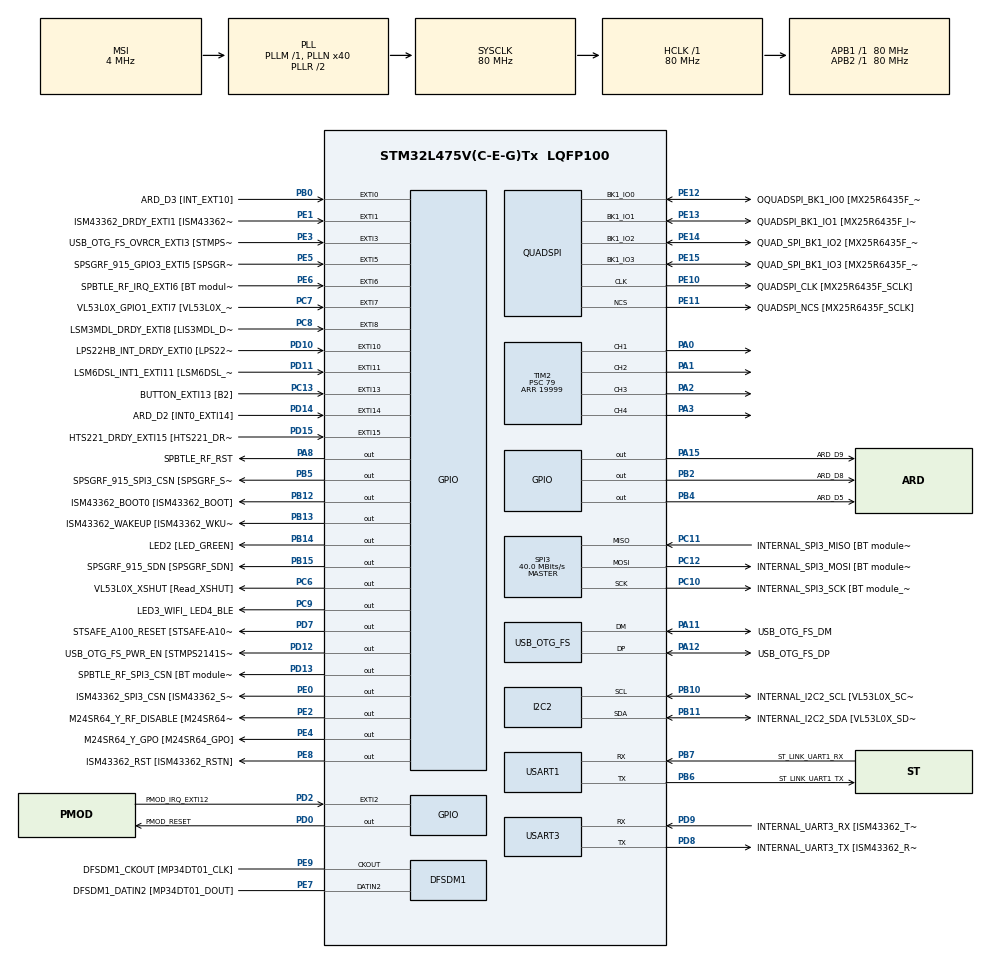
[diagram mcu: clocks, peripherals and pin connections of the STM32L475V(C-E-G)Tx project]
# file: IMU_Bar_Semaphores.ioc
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Dma.I2C2_RX.0.Direction=DMA_PERIPH_TO_MEMORY
Dma.I2C2_RX.0.Instance=DMA1_Channel5
Dma.I2C2_RX.0.MemDataAlignment=DMA_MDATAALIGN_BYTE
Dma.I2C2_RX.0.MemInc=DMA_MINC_ENABLE
Dma.I2C2_RX.0.Mode=DMA_NORMAL
Dma.I2C2_RX.0.PeriphDataAlignment=DMA_PDATAALIGN_BYTE
Dma.I2C2_RX.0.PeriphInc=DMA_PINC_DISABLE
Dma.I2C2_RX.0.Priority=DMA_PRIORITY_LOW
Dma.I2C2_TX.1.Direction=DMA_MEMORY_TO_PERIPH
Dma.I2C2_TX.1.Instance=DMA1_Channel4
Dma.I2C2_TX.1.MemDataAlignment=DMA_MDATAALIGN_BYTE
Dma.I2C2_TX.1.MemInc=DMA_MINC_ENABLE
Dma.I2C2_TX.1.Mode=DMA_NORMAL
Dma.I2C2_TX.1.PeriphDataAlignment=DMA_PDATAALIGN_BYTE
Dma.I2C2_TX.1.PeriphInc=DMA_PINC_DISABLE
Dma.I2C2_TX.1.Priority=DMA_PRIORITY_LOW
Dma.Request0=I2C2_RX
Dma.Request1=I2C2_TX
FREERTOS.Mutexes01=I2C2_Mutex,Dynamic,NULL
FREERTOS.Queues01=AltitudQueue,5,float,0,Dynamic,NULL,NULL;IMU_Queue,5,12,1,Dynamic,NULL,NULL
FREERTOS.Tasks01=BaroTask,16,256,StartBaroTask,Default,NULL,Dynamic,NULL,NULL;IMU_Task,40,256,StartIMU_Task,Default,NULL,Dynamic,NULL,NULL;Telemetry_Task,24,512,StartTelemetry_Task,Default,NULL,Dynamic,NULL,NULL
FREERTOS.configTOTAL_HEAP_SIZE=15360
I2C2.Timing=0x10909CEC
Mcu.Family=STM32L4
Mcu.Name=STM32L475V(C-E-G)Tx
Mcu.Package=LQFP100
NVIC.DMA1_Channel4_IRQn=true\:5\:0\:false\:false\:true\:true\:false\:true\:true
NVIC.DMA1_Channel5_IRQn=true\:5\:0\:false\:false\:true\:true\:false\:true\:true
NVIC.EXTI15_10_IRQn=true\:5\:0\:false\:false\:true\:true\:true\:true\:true
NVIC.EXTI9_5_IRQn=true\:5\:0\:false\:false\:true\:true\:true\:true\:true
NVIC.I2C2_ER_IRQn=true\:5\:0\:false\:false\:true\:true\:true\:true\:true
NVIC.I2C2_EV_IRQn=true\:5\:0\:false\:false\:true\:true\:true\:true\:true
NVIC.PriorityGroup=NVIC_PRIORITYGROUP_4
NVIC.TIM6_DAC_IRQn=true\:15\:0\:false\:false\:true\:false\:false\:true\:true
NVIC.TimeBase=TIM6_DAC_IRQn
NVIC.TimeBaseIP=TIM6
NVIC.USART1_IRQn=true\:5\:0\:false\:false\:true\:true\:true\:true\:true
PA0.Signal=S_TIM2_CH1
PA1.Signal=S_TIM2_CH2
PA10.GPIO_Label=USB_OTG_FS_ID
PA10.Signal=USB_OTG_FS_ID
PA11.GPIO_Label=USB_OTG_FS_DM
PA11.Mode=Device_Only
PA11.Signal=USB_OTG_FS_DM
PA12.GPIO_Label=USB_OTG_FS_DP
PA12.Mode=Device_Only
PA12.Signal=USB_OTG_FS_DP
PA13\ (JTMS-SWDIO).GPIO_Label=SYS_JTMS_SWDIO
PA13\ (JTMS-SWDIO).Mode=Serial_Wire
PA13\ (JTMS-SWDIO).Signal=SYS_JTMS-SWDIO
PA14\ (JTCK-SWCLK).GPIO_Label=SYS_JTCK_SWCLK
PA14\ (JTCK-SWCLK).Mode=Serial_Wire
PA14\ (JTCK-SWCLK).Signal=SYS_JTCK-SWCLK
PA15\ (JTDI).GPIO_Label=ARD_D9
PA15\ (JTDI).Signal=GPIO_Output
PA2.Signal=S_TIM2_CH3
PA3.Signal=S_TIM2_CH4
PA4.GPIO_Label=ARD_D7
PA4.Signal=ADCx_IN9
PA5.GPIO_Label=ARD_D13 [SPI1_SCK]
PA5.Signal=SPI1_SCK
PA6.GPIO_Label=ARD_D12 [SPI1_MISO]
PA6.Signal=SPI1_MISO
PA7.GPIO_Label=ARD_D11 [SPI1_MOSI]
PA7.Signal=SPI1_MOSI
PA8.GPIO_Label=SPBTLE_RF_RST
PA8.Signal=GPIO_Output
PA9.GPIO_Label=USB_OTG_FS_VBUS [STMPS2141STR_OUT]
PA9.Signal=USB_OTG_FS_VBUS
PB0.GPIO_Label=ARD_D3 [INT_EXT10]
PB0.Signal=GPXTI0
PB1.GPIO_Label=ARD_D6 [ADC1_IN6]
PB1.Signal=ADCx_IN16
PB10.GPIO_Label=INTERNAL_I2C2_SCL [VL53L0X_SCL]
PB10.GPIO_Pu=GPIO_PULLUP
PB10.Mode=I2C
PB10.Signal=I2C2_SCL
PB11.GPIO_Label=INTERNAL_I2C2_SDA [VL53L0X_SDA]
PB11.GPIO_Pu=GPIO_PULLUP
PB11.Mode=I2C
PB11.Signal=I2C2_SDA
PB12.GPIO_Label=ISM43362_BOOT0 [ISM43362_BOOT]
PB12.Signal=GPIO_Output
PB13.GPIO_Label=ISM43362_WAKEUP [ISM43362_WKUP]
PB13.Signal=GPIO_Output
PB14.GPIO_Label=LED2 [LED_GREEN]
PB14.Signal=GPIO_Output
PB15.GPIO_Label=SPSGRF_915_SDN [SPSGRF_SDN]
PB15.Signal=GPIO_Output
PB2.GPIO_Label=ARD_D8
PB2.Signal=GPIO_Output
PB3\ (JTDO-TRACESWO).GPIO_Label=SYS_JTD0_SWO
PB3\ (JTDO-TRACESWO).Signal=SYS_JTDO-SWO
PB4\ (NJTRST).GPIO_Label=ARD_D5
PB4\ (NJTRST).Signal=GPIO_Output
PB5.GPIO_Label=SPSGRF_915_SPI3_CSN [SPSGRF_SPI_CS]
PB5.PinState=GPIO_PIN_SET
PB5.Signal=GPIO_Output
PB6.GPIO_Label=ST_LINK_UART1_TX
PB6.Mode=Asynchronous
PB6.Signal=USART1_TX
PB7.GPIO_Label=ST_LINK_UART1_RX
PB7.Mode=Asynchronous
PB7.Signal=USART1_RX
PB8.GPIO_Label=ARD_D15 [I2C1_SCL]
PB8.Signal=I2C1_SCL
PB9.GPIO_Label=ARD_D14 [I2C1_SDA]
PB9.Signal=I2C1_SDA
PC0.GPIO_Label=ARD_A5 [ADC]
PC0.Signal=ADCx_IN1
PC1.GPIO_Label=ARD_A4 [ADC]
PC1.Signal=ADCx_IN2
PC10.GPIO_Label=INTERNAL_SPI3_SCK [BT module_SPI_SCLK] [ISM43362_SCK]
PC10.Mode=Full_Duplex_Master
PC10.Signal=SPI3_SCK
PC11.GPIO_Label=INTERNAL_SPI3_MISO [BT module_SPI_MISO] [ISM43362_MISO]
PC11.Mode=Full_Duplex_Master
PC11.Signal=SPI3_MISO
PC12.GPIO_Label=INTERNAL_SPI3_MOSI [BT module_SPI_MOSI] [ISM43362_MOSI]
PC12.Mode=Full_Duplex_Master
PC12.Signal=SPI3_MOSI
PC13.GPIO_Label=BUTTON_EXTI13 [B2]
PC13.GPIO_ModeDefaultEXTI=GPIO_MODE_IT_FALLING
PC13.Signal=GPXTI13
PC14-OSC32_IN\ (PC14).Mode=LSE-External-Oscillator
PC14-OSC32_IN\ (PC14).Signal=RCC_OSC32_IN
PC15-OSC32_OUT\ (PC15).Mode=LSE-External-Oscillator
PC15-OSC32_OUT\ (PC15).Signal=RCC_OSC32_OUT
PC2.GPIO_Label=ARD_A3 [ADC]
PC2.Signal=ADCx_IN3
PC3.GPIO_Label=ARD_A2 [ADC]
PC3.Signal=ADCx_IN4
PC4.GPIO_Label=ARD_A1 [ADC]
PC4.Signal=ADCx_IN13
PC5.GPIO_Label=ARD_A0 [ADC]
PC5.Signal=ADCx_IN14
PC6.GPIO_Label=VL53L0X_XSHUT [Read_XSHUT]
PC6.Signal=GPIO_Output
PC7.GPIO_Label=VL53L0X_GPIO1_EXTI7 [VL53L0X_GPIO1]
PC7.Signal=GPXTI7
PC8.GPIO_Label=LSM3MDL_DRDY_EXTI8 [LIS3MDL_DRDY]
PC8.Signal=GPXTI8
PC9.GPIO_Label=LED3_WIFI_ LED4_BLE
PC9.Signal=GPIO_Output
PD0.GPIO_Label=PMOD_RESET
PD0.Signal=GPIO_Output
PD1.GPIO_Label=PMOD_SPI2_SCK
PD1.Signal=SPI2_SCK
PD10.GPIO_Label=LPS22HB_INT_DRDY_EXTI0 [LPS22HB_INT_DRDY] 
PD10.Signal=GPXTI10
PD11.GPIO_Label=LSM6DSL_INT1_EXTI11 [LSM6DSL_INT1]
PD11.Signal=GPXTI11
PD12.GPIO_Label=USB_OTG_FS_PWR_EN [STMPS2141STR_EN]
PD12.Signal=GPIO_Output
PD13.GPIO_Label=SPBTLE_RF_SPI3_CSN [BT module_SPI_CS]
PD13.PinState=GPIO_PIN_SET
PD13.Signal=GPIO_Output
PD14.GPIO_Label=ARD_D2 [INT0_EXTI14]
PD14.Signal=GPXTI14
PD15.GPIO_Label=HTS221_DRDY_EXTI15 [HTS221_DRDY]
PD15.Signal=GPXTI15
PD2.GPIO_Label=PMOD_IRQ_EXTI12
PD2.Signal=GPXTI2
PD3.GPIO_Label=PMOD_UART2_CTS
PD3.Signal=USART2_CTS
PD4.GPIO_Label=PMOD_UART2_RTS
PD4.Signal=USART2_RTS
PD5.GPIO_Label=PMOD_UART2_TX
PD5.Signal=USART2_TX
PD6.GPIO_Label=PMOD_UART2_RX
PD6.Signal=USART2_RX
PD7.GPIO_Label=STSAFE_A100_RESET [STSAFE-A100_RESET]
PD7.Signal=GPIO_Output
PD8.GPIO_Label=INTERNAL_UART3_TX [ISM43362_RX]
PD8.Mode=Asynchronous
PD8.Signal=USART3_TX
PD9.GPIO_Label=INTERNAL_UART3_RX [ISM43362_TX]
PD9.Mode=Asynchronous
PD9.Signal=USART3_RX
PE0.GPIO_Label=ISM43362_SPI3_CSN [ISM43362_SSN]
PE0.PinState=GPIO_PIN_SET
PE0.Signal=GPIO_Output
PE1.GPIO_Label=ISM43362_DRDY_EXTI1 [ISM43362_DATARDY]
PE1.Signal=GPXTI1
PE10.GPIO_Label=QUADSPI_CLK [MX25R6435F_SCLK]
PE10.Mode=Single Bank
PE10.Signal=QUADSPI_CLK
PE11.GPIO_Label=QUADSPI_NCS [MX25R6435F_SCLK]
PE11.Mode=Single Bank
PE11.Signal=QUADSPI_NCS
PE12.GPIO_Label=OQUADSPI_BK1_IO0 [MX25R6435F_IO0]
PE12.Mode=Single Bank
PE12.Signal=QUADSPI_BK1_IO0
PE13.GPIO_Label=QUADSPI_BK1_IO1 [MX25R6435F_IO1]
PE13.Mode=Single Bank
PE13.Signal=QUADSPI_BK1_IO1
PE14.GPIO_Label=QUAD_SPI_BK1_IO2 [MX25R6435F_IO2]
PE14.Mode=Single Bank
PE14.Signal=QUADSPI_BK1_IO2
PE15.GPIO_Label=QUAD_SPI_BK1_IO3 [MX25R6435F_IO3]
PE15.Mode=Single Bank
PE15.Signal=QUADSPI_BK1_IO3
PE2.GPIO_Label=M24SR64_Y_RF_DISABLE [M24SR64_RFDIS]
PE2.Signal=GPIO_Output
PE3.GPIO_Label=USB_OTG_FS_OVRCR_EXTI3 [STMPS2141STR_FAULT]
PE3.Signal=GPXTI3
PE4.GPIO_Label=M24SR64_Y_GPO [M24SR64_GPO]
PE4.Signal=GPIO_Output
PE5.GPIO_Label=SPSGRF_915_GPIO3_EXTI5 [SPSGRF_GPIO_3]
PE5.Signal=GPXTI5
PE6.GPIO_Label=SPBTLE_RF_IRQ_EXTI6 [BT module_SPI_IRQ]
PE6.Signal=GPXTI6
PE7.GPIO_Label=DFSDM1_DATIN2 [MP34DT01_DOUT]
PE7.Signal=S_DATAIN2DFSDM1
PE8.GPIO_Label=ISM43362_RST [ISM43362_RSTN]
PE8.Signal=GPIO_Output
PE9.GPIO_Label=DFSDM1_CKOUT [MP34DT01_CLK]
PE9.Signal=S_CKOUTDFSDM1
ProjectManager.HeapSize=0x200
ProjectManager.StackSize=0x400
ProjectManager.TargetToolchain=STM32CubeIDE
QUADSPI.ClockPrescaler=2
QUADSPI.FifoThreshold=4
QUADSPI.FlashSize=23
QUADSPI.SampleShifting=QSPI_SAMPLE_SHIFTING_HALFCYCLE
RCC.ADCFreq_Value=48000000
RCC.AHBFreq_Value=80000000
RCC.APB1Freq_Value=80000000
RCC.APB1TimFreq_Value=80000000
RCC.APB2Freq_Value=80000000
RCC.APB2TimFreq_Value=80000000
RCC.CortexFreq_Value=80000000
RCC.HCLKFreq_Value=80000000
RCC.HSE_VALUE=8000000
RCC.HSI_VALUE=16000000
RCC.MSI_VALUE=4000000
RCC.PLLN=40
RCC.PLLSAI1N=24
RCC.SYSCLKFreq_VALUE=80000000
RCC.SYSCLKSource=RCC_SYSCLKSOURCE_PLLCLK
RCC.USBFreq_Value=48000000
RCC.VCOOutputFreq_Value=160000000
SH.ADCx_IN1.0=ADC1_IN1
SH.ADCx_IN13.0=ADC1_IN13
SH.ADCx_IN14.0=ADC1_IN14
SH.ADCx_IN16.0=ADC1_IN16
SH.ADCx_IN2.0=ADC1_IN2
SH.ADCx_IN3.0=ADC1_IN3
SH.ADCx_IN4.0=ADC1_IN4
SH.ADCx_IN9.0=ADC1_IN9
SH.S_CKOUTDFSDM1.0=DFSDM1_CKOUT,CKOUT
SH.S_CKOUTDFSDM1.1=DFSDM1_CKOUT,PDM_SPI_Input_from_ch12_and_Internal_Clock
SH.S_DATAIN2DFSDM1.0=DFSDM1_DATIN2,PDM_SPI_Input_from_ch12_and_Internal_Clock
SH.S_TIM2_CH1.0=TIM2_CH1,PWM Generation1 CH1
SH.S_TIM2_CH2.0=TIM2_CH2,PWM Generation2 CH2
SH.S_TIM2_CH3.0=TIM2_CH3,PWM Generation3 CH3
SH.S_TIM2_CH4.0=TIM2_CH4,PWM Generation4 CH4
SPI3.CalculateBaudRate=40.0 MBits/s
SPI3.Direction=SPI_DIRECTION_2LINES
SPI3.Mode=SPI_MODE_MASTER
SPI3.VirtualType=VM_MASTER
TIM2.Channel-PWM\ Generation1\ CH1=TIM_CHANNEL_1
TIM2.Channel-PWM\ Generation2\ CH2=TIM_CHANNEL_2
TIM2.Channel-PWM\ Generation3\ CH3=TIM_CHANNEL_3
TIM2.Channel-PWM\ Generation4\ CH4=TIM_CHANNEL_4
TIM2.Period=19999
TIM2.Prescaler=79
USART1.VirtualMode-Asynchronous=VM_ASYNC
USART3.VirtualMode-Asynchronous=VM_ASYNC
USB_OTG_FS.VirtualMode=Device_Only
VP_FREERTOS_VS_CMSIS_V2.Mode=CMSIS_V2
VP_SYS_VS_tim6.Mode=TIM6
board=B-L475E-IOT01A2

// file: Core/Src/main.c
/* USER CODE BEGIN Header */
/**
  ******************************************************************************
  * @file           : main.c
  * @brief          : Main program body
  ******************************************************************************
  * @attention
  *
  * Copyright (c) 2026 STMicroelectronics.
  * All rights reserved.
  *
  * This software is licensed under terms that can be found in the LICENSE file
  * in the root directory of this software component.
  * If no LICENSE file comes with this software, it is provided AS-IS.
  *
  ******************************************************************************
  */
/* USER CODE END Header */
#include "main.h"
#include "cmsis_os.h"

DFSDM_Channel_HandleTypeDef hdfsdm1_channel1;

I2C_HandleTypeDef hi2c2;
DMA_HandleTypeDef hdma_i2c2_rx;
DMA_HandleTypeDef hdma_i2c2_tx;

QSPI_HandleTypeDef hqspi;

SPI_HandleTypeDef hspi3;

TIM_HandleTypeDef htim2;

UART_HandleTypeDef huart1;
UART_HandleTypeDef huart3;

PCD_HandleTypeDef hpcd_USB_OTG_FS;

/* Definitions for BaroTask */
osThreadId_t BaroTaskHandle;
const osThreadAttr_t BaroTask_attributes = {
  .name = "BaroTask",
  .stack_size = 256 * 4,
  .priority = (osPriority_t) osPriorityBelowNormal,
};
/* Definitions for IMU_Task */
osThreadId_t IMU_TaskHandle;
const osThreadAttr_t IMU_Task_attributes = {
  .name = "IMU_Task",
  .stack_size = 512 * 4,
  .priority = (osPriority_t) osPriorityHigh,
};
/* Definitions for Telemetry_Task */
osThreadId_t Telemetry_TaskHandle;
const osThreadAttr_t Telemetry_Task_attributes = {
  .name = "Telemetry_Task",
  .stack_size = 512 * 4,
  .priority = (osPriority_t) osPriorityNormal,
};
/* Definitions for AltitudQueue */
osMessageQueueId_t AltitudQueueHandle;
const osMessageQueueAttr_t AltitudQueue_attributes = {
  .name = "AltitudQueue"
};
/* Definitions for IMU_Queue */
osMessageQueueId_t IMU_QueueHandle;
const osMessageQueueAttr_t IMU_Queue_attributes = {
  .name = "IMU_Queue"
};
/* Definitions for I2C2_Mutex */
osMutexId_t I2C2_MutexHandle;
const osMutexAttr_t I2C2_Mutex_attributes = {
  .name = "I2C2_Mutex"
};
/* USER CODE BEGIN PV */
typedef struct {
	float pitch;      // Ángulo (lo que muestra la inclinación)
	    float roll;       // Ángulo
	    float outP;       // Salida del PID de Pitch (fuerza)
	    float outR;       // Salida del PID de Roll (fuerza)
	    float outY;       // Salida del PID de Yaw (la "Y" que mencionaste)
} IMU_Data_t;

typedef struct {
    float Kp;           // Ganancia Proporcional
    float Ki;           // Ganancia Integral
    float Kd;           // Ganancia Derivativa
    float integral;     // Acumulador para el término I
    float error_previo; // Para el cálculo de la derivada
    float limite_salida; // Evita saturar los motores
} PID_Controller;

IMU_Data_t datos_nuevos; // Declaración de la variable

// Referencias para los sensores (esto lo usaremos en las tareas)
#define LSM6DSL_ADDR (0x6A << 1)
#define LPS22HB_ADDR (0x5D << 1)
float P_referencia = 1013.25f; // Valor estándar inicial (hPa)
float bias_x = 0, bias_y = 0, bias_z = 0; //para calibracion

float ax, ay, az, gx, gy, gz; // Agregá estas si no las tenés
float pitch = 0.0f, roll = 0.0f;

osSemaphoreId_t i2c_dma_semHandle;
const osSemaphoreAttr_t i2c_dma_sem_attributes = { .name = "i2c_dma_sem" };
/* USER CODE END PV */

void SystemClock_Config(void);
static void MX_GPIO_Init(void);
static void MX_DMA_Init(void);
static void MX_DFSDM1_Init(void);
static void MX_I2C2_Init(void);
static void MX_QUADSPI_Init(void);
static void MX_SPI3_Init(void);
static void MX_USART1_UART_Init(void);
static void MX_USART3_UART_Init(void);
static void MX_USB_OTG_FS_PCD_Init(void);
static void MX_TIM2_Init(void);
void StartBaroTask(void *argument);
void StartIMU_Task(void *argument);
void StartTelemetry_Task(void *argument);

/* USER CODE BEGIN PFP */
void LSM6DSL_Init(void);
void LPS22HB_Init(void);
void Calibrar_IMU(void);
HAL_StatusTypeDef Leer_Sensor_Baro(float *presion, float *altitud);
HAL_StatusTypeDef Leer_IMU_Completa_DMA(float *ax, float *ay, float *az, float *gx, float *gy, float *gz);
void HAL_I2C_MemRxCpltCallback(I2C_HandleTypeDef *hi2c);
float PID_Compute(PID_Controller *pid, float setpoint, float medido, float dt);
/* USER CODE END PFP */

/* USER CODE BEGIN 0 */
#include <stdio.h>

#ifdef __GNUC__
#define PUTCHAR_PROTOTYPE int __io_putchar(int ch)
#else
#define PUTCHAR_PROTOTYPE int fputc(int ch, FILE *f)
#endif

PUTCHAR_PROTOTYPE
{
  // Cambiá &huart1 por la UART que estés usando (en tu placa es la 1)
  HAL_UART_Transmit(&huart1, (uint8_t *)&ch, 1, HAL_MAX_DELAY);
  return ch;
}
/* USER CODE END 0 */

int main(void)
{

  /* MCU Configuration--------------------------------------------------------*/

  /* Reset of all peripherals, Initializes the Flash interface and the Systick. */
  HAL_Init();

  /* Configure the system clock */
  SystemClock_Config();

  /* Initialize all configured peripherals */
  MX_GPIO_Init();
  MX_DMA_Init();
  MX_DFSDM1_Init();
  MX_I2C2_Init();
  MX_QUADSPI_Init();
  MX_SPI3_Init();
  MX_USART1_UART_Init();
  MX_USART3_UART_Init();
  MX_USB_OTG_FS_PCD_Init();
  MX_TIM2_Init();
  /* USER CODE BEGIN 2 */
  // 2. Calibrar (La placa debe estar QUIETA)
  // Aquí la función Leer_Sensor_IMU se usará sin el Mutex de la tarea.
  Calibrar_IMU();
  LPS22HB_Init();
  LSM6DSL_Init();
  /* USER CODE END 2 */

  /* Init scheduler */
  osKernelInitialize();
  /* Create the mutex(es) */
  /* creation of I2C2_Mutex */
  I2C2_MutexHandle = osMutexNew(&I2C2_Mutex_attributes);

  /* USER CODE BEGIN RTOS_SEMAPHORES */
  /* add semaphores, ... */
  i2c_dma_semHandle = osSemaphoreNew(1, 0, &i2c_dma_sem_attributes);
  /* USER CODE END RTOS_SEMAPHORES */

  /* Create the queue(s) */
  /* creation of AltitudQueue */
  AltitudQueueHandle = osMessageQueueNew (5, sizeof(float), &AltitudQueue_attributes);

  /* creation of IMU_Queue */
  IMU_QueueHandle = osMessageQueueNew (5, sizeof(IMU_Data_t), &IMU_Queue_attributes);

  /* Create the thread(s) */
  /* creation of BaroTask */
  BaroTaskHandle = osThreadNew(StartBaroTask, NULL, &BaroTask_attributes);

  /* creation of IMU_Task */
  IMU_TaskHandle = osThreadNew(StartIMU_Task, NULL, &IMU_Task_attributes);

  /* creation of Telemetry_Task */
  Telemetry_TaskHandle = osThreadNew(StartTelemetry_Task, NULL, &Telemetry_Task_attributes);

  /* Start scheduler */
  osKernelStart();

  /* We should never get here as control is now taken by the scheduler */
  /* Infinite loop */
  while (1)
  {

  }
}

void SystemClock_Config(void)
{
  RCC_OscInitTypeDef RCC_OscInitStruct = {0};
  RCC_ClkInitTypeDef RCC_ClkInitStruct = {0};

  /** Configure the main internal regulator output voltage
  */
  if (HAL_PWREx_ControlVoltageScaling(PWR_REGULATOR_VOLTAGE_SCALE1) != HAL_OK)
  {
    Error_Handler();
  }

  /** Configure LSE Drive Capability
  */
  HAL_PWR_EnableBkUpAccess();
  __HAL_RCC_LSEDRIVE_CONFIG(RCC_LSEDRIVE_LOW);

  /** Initializes the RCC Oscillators according to the specified parameters
  * in the RCC_OscInitTypeDef structure.
  */
  RCC_OscInitStruct.OscillatorType = RCC_OSCILLATORTYPE_LSE|RCC_OSCILLATORTYPE_MSI;
  RCC_OscInitStruct.LSEState = RCC_LSE_ON;
  RCC_OscInitStruct.MSIState = RCC_MSI_ON;
  RCC_OscInitStruct.MSICalibrationValue = 0;
  RCC_OscInitStruct.MSIClockRange = RCC_MSIRANGE_6;
  RCC_OscInitStruct.PLL.PLLState = RCC_PLL_ON;
  RCC_OscInitStruct.PLL.PLLSource = RCC_PLLSOURCE_MSI;
  RCC_OscInitStruct.PLL.PLLM = 1;
  RCC_OscInitStruct.PLL.PLLN = 40;
  RCC_OscInitStruct.PLL.PLLP = RCC_PLLP_DIV7;
  RCC_OscInitStruct.PLL.PLLQ = RCC_PLLQ_DIV2;
  RCC_OscInitStruct.PLL.PLLR = RCC_PLLR_DIV2;
  if (HAL_RCC_OscConfig(&RCC_OscInitStruct) != HAL_OK)
  {
    Error_Handler();
  }

  /** Initializes the CPU, AHB and APB buses clocks
  */
  RCC_ClkInitStruct.ClockType = RCC_CLOCKTYPE_HCLK|RCC_CLOCKTYPE_SYSCLK
                              |RCC_CLOCKTYPE_PCLK1|RCC_CLOCKTYPE_PCLK2;
  RCC_ClkInitStruct.SYSCLKSource = RCC_SYSCLKSOURCE_PLLCLK;
  RCC_ClkInitStruct.AHBCLKDivider = RCC_SYSCLK_DIV1;
  RCC_ClkInitStruct.APB1CLKDivider = RCC_HCLK_DIV1;
  RCC_ClkInitStruct.APB2CLKDivider = RCC_HCLK_DIV1;

  if (HAL_RCC_ClockConfig(&RCC_ClkInitStruct, FLASH_LATENCY_4) != HAL_OK)
  {
    Error_Handler();
  }

  /** Enable MSI Auto calibration
  */
  HAL_RCCEx_EnableMSIPLLMode();
}

static void MX_DFSDM1_Init(void)
{

  hdfsdm1_channel1.Instance = DFSDM1_Channel1;
  hdfsdm1_channel1.Init.OutputClock.Activation = ENABLE;
  hdfsdm1_channel1.Init.OutputClock.Selection = DFSDM_CHANNEL_OUTPUT_CLOCK_SYSTEM;
  hdfsdm1_channel1.Init.OutputClock.Divider = 2;
  hdfsdm1_channel1.Init.Input.Multiplexer = DFSDM_CHANNEL_EXTERNAL_INPUTS;
  hdfsdm1_channel1.Init.Input.DataPacking = DFSDM_CHANNEL_STANDARD_MODE;
  hdfsdm1_channel1.Init.Input.Pins = DFSDM_CHANNEL_FOLLOWING_CHANNEL_PINS;
  hdfsdm1_channel1.Init.SerialInterface.Type = DFSDM_CHANNEL_SPI_RISING;
  hdfsdm1_channel1.Init.SerialInterface.SpiClock = DFSDM_CHANNEL_SPI_CLOCK_INTERNAL;
  hdfsdm1_channel1.Init.Awd.FilterOrder = DFSDM_CHANNEL_FASTSINC_ORDER;
  hdfsdm1_channel1.Init.Awd.Oversampling = 1;
  hdfsdm1_channel1.Init.Offset = 0;
  hdfsdm1_channel1.Init.RightBitShift = 0x00;
  if (HAL_DFSDM_ChannelInit(&hdfsdm1_channel1) != HAL_OK)
  {
    Error_Handler();
  }

}

static void MX_I2C2_Init(void)
{

  hi2c2.Instance = I2C2;
  hi2c2.Init.Timing = 0x10909CEC;
  hi2c2.Init.OwnAddress1 = 0;
  hi2c2.Init.AddressingMode = I2C_ADDRESSINGMODE_7BIT;
  hi2c2.Init.DualAddressMode = I2C_DUALADDRESS_DISABLE;
  hi2c2.Init.OwnAddress2 = 0;
  hi2c2.Init.OwnAddress2Masks = I2C_OA2_NOMASK;
  hi2c2.Init.GeneralCallMode = I2C_GENERALCALL_DISABLE;
  hi2c2.Init.NoStretchMode = I2C_NOSTRETCH_DISABLE;
  if (HAL_I2C_Init(&hi2c2) != HAL_OK)
  {
    Error_Handler();
  }

  /** Configure Analogue filter
  */
  if (HAL_I2CEx_ConfigAnalogFilter(&hi2c2, I2C_ANALOGFILTER_ENABLE) != HAL_OK)
  {
    Error_Handler();
  }

  /** Configure Digital filter
  */
  if (HAL_I2CEx_ConfigDigitalFilter(&hi2c2, 0) != HAL_OK)
  {
    Error_Handler();
  }

}

static void MX_QUADSPI_Init(void)
{

  /* QUADSPI parameter configuration*/
  hqspi.Instance = QUADSPI;
  hqspi.Init.ClockPrescaler = 2;
  hqspi.Init.FifoThreshold = 4;
  hqspi.Init.SampleShifting = QSPI_SAMPLE_SHIFTING_HALFCYCLE;
  hqspi.Init.FlashSize = 23;
  hqspi.Init.ChipSelectHighTime = QSPI_CS_HIGH_TIME_1_CYCLE;
  hqspi.Init.ClockMode = QSPI_CLOCK_MODE_0;
  if (HAL_QSPI_Init(&hqspi) != HAL_OK)
  {
    Error_Handler();
  }

}

static void MX_SPI3_Init(void)
{

  /* SPI3 parameter configuration*/
  hspi3.Instance = SPI3;
  hspi3.Init.Mode = SPI_MODE_MASTER;
  hspi3.Init.Direction = SPI_DIRECTION_2LINES;
  hspi3.Init.DataSize = SPI_DATASIZE_4BIT;
  hspi3.Init.CLKPolarity = SPI_POLARITY_LOW;
  hspi3.Init.CLKPhase = SPI_PHASE_1EDGE;
  hspi3.Init.NSS = SPI_NSS_SOFT;
  hspi3.Init.BaudRatePrescaler = SPI_BAUDRATEPRESCALER_2;
  hspi3.Init.FirstBit = SPI_FIRSTBIT_MSB;
  hspi3.Init.TIMode = SPI_TIMODE_DISABLE;
  hspi3.Init.CRCCalculation = SPI_CRCCALCULATION_DISABLE;
  hspi3.Init.CRCPolynomial = 7;
  hspi3.Init.CRCLength = SPI_CRC_LENGTH_DATASIZE;
  hspi3.Init.NSSPMode = SPI_NSS_PULSE_ENABLE;
  if (HAL_SPI_Init(&hspi3) != HAL_OK)
  {
    Error_Handler();
  }

}

static void MX_TIM2_Init(void)
{

  TIM_MasterConfigTypeDef sMasterConfig = {0};
  TIM_OC_InitTypeDef sConfigOC = {0};

  htim2.Instance = TIM2;
  htim2.Init.Prescaler = 79;
  htim2.Init.CounterMode = TIM_COUNTERMODE_UP;
  htim2.Init.Period = 19999;
  htim2.Init.ClockDivision = TIM_CLOCKDIVISION_DIV1;
  htim2.Init.AutoReloadPreload = TIM_AUTORELOAD_PRELOAD_DISABLE;
  if (HAL_TIM_PWM_Init(&htim2) != HAL_OK)
  {
    Error_Handler();
  }
  sMasterConfig.MasterOutputTrigger = TIM_TRGO_RESET;
  sMasterConfig.MasterSlaveMode = TIM_MASTERSLAVEMODE_DISABLE;
  if (HAL_TIMEx_MasterConfigSynchronization(&htim2, &sMasterConfig) != HAL_OK)
  {
    Error_Handler();
  }
  sConfigOC.OCMode = TIM_OCMODE_PWM1;
  sConfigOC.Pulse = 0;
  sConfigOC.OCPolarity = TIM_OCPOLARITY_HIGH;
  sConfigOC.OCFastMode = TIM_OCFAST_DISABLE;
  if (HAL_TIM_PWM_ConfigChannel(&htim2, &sConfigOC, TIM_CHANNEL_1) != HAL_OK)
  {
    Error_Handler();
  }
  if (HAL_TIM_PWM_ConfigChannel(&htim2, &sConfigOC, TIM_CHANNEL_2) != HAL_OK)
  {
    Error_Handler();
  }
  if (HAL_TIM_PWM_ConfigChannel(&htim2, &sConfigOC, TIM_CHANNEL_3) != HAL_OK)
  {
    Error_Handler();
  }
  if (HAL_TIM_PWM_ConfigChannel(&htim2, &sConfigOC, TIM_CHANNEL_4) != HAL_OK)
  {
    Error_Handler();
  }
  HAL_TIM_MspPostInit(&htim2);

}

static void MX_USART1_UART_Init(void)
{

  huart1.Instance = USART1;
  huart1.Init.BaudRate = 115200;
  huart1.Init.WordLength = UART_WORDLENGTH_8B;
  huart1.Init.StopBits = UART_STOPBITS_1;
  huart1.Init.Parity = UART_PARITY_NONE;
  huart1.Init.Mode = UART_MODE_TX_RX;
  huart1.Init.HwFlowCtl = UART_HWCONTROL_NONE;
  huart1.Init.OverSampling = UART_OVERSAMPLING_16;
  huart1.Init.OneBitSampling = UART_ONE_BIT_SAMPLE_DISABLE;
  huart1.AdvancedInit.AdvFeatureInit = UART_ADVFEATURE_NO_INIT;
  if (HAL_UART_Init(&huart1) != HAL_OK)
  {
    Error_Handler();
  }

}

static void MX_USART3_UART_Init(void)
{

  huart3.Instance = USART3;
  huart3.Init.BaudRate = 115200;
  huart3.Init.WordLength = UART_WORDLENGTH_8B;
  huart3.Init.StopBits = UART_STOPBITS_1;
  huart3.Init.Parity = UART_PARITY_NONE;
  huart3.Init.Mode = UART_MODE_TX_RX;
  huart3.Init.HwFlowCtl = UART_HWCONTROL_NONE;
  huart3.Init.OverSampling = UART_OVERSAMPLING_16;
  huart3.Init.OneBitSampling = UART_ONE_BIT_SAMPLE_DISABLE;
  huart3.AdvancedInit.AdvFeatureInit = UART_ADVFEATURE_NO_INIT;
  if (HAL_UART_Init(&huart3) != HAL_OK)
  {
    Error_Handler();
  }

}

static void MX_USB_OTG_FS_PCD_Init(void)
{

  hpcd_USB_OTG_FS.Instance = USB_OTG_FS;
  hpcd_USB_OTG_FS.Init.dev_endpoints = 6;
  hpcd_USB_OTG_FS.Init.speed = PCD_SPEED_FULL;
  hpcd_USB_OTG_FS.Init.phy_itface = PCD_PHY_EMBEDDED;
  hpcd_USB_OTG_FS.Init.Sof_enable = DISABLE;
  hpcd_USB_OTG_FS.Init.low_power_enable = DISABLE;
  hpcd_USB_OTG_FS.Init.lpm_enable = DISABLE;
  hpcd_USB_OTG_FS.Init.battery_charging_enable = DISABLE;
  hpcd_USB_OTG_FS.Init.use_dedicated_ep1 = DISABLE;
  hpcd_USB_OTG_FS.Init.vbus_sensing_enable = DISABLE;
  if (HAL_PCD_Init(&hpcd_USB_OTG_FS) != HAL_OK)
  {
    Error_Handler();
  }

}

static void MX_DMA_Init(void)
{

  /* DMA controller clock enable */
  __HAL_RCC_DMA1_CLK_ENABLE();

  /* DMA interrupt init */
  /* DMA1_Channel4_IRQn interrupt configuration */
  HAL_NVIC_SetPriority(DMA1_Channel4_IRQn, 5, 0);
  HAL_NVIC_EnableIRQ(DMA1_Channel4_IRQn);
  /* DMA1_Channel5_IRQn interrupt configuration */
  HAL_NVIC_SetPriority(DMA1_Channel5_IRQn, 5, 0);
  HAL_NVIC_EnableIRQ(DMA1_Channel5_IRQn);

}

static void MX_GPIO_Init(void)
{
  GPIO_InitTypeDef GPIO_InitStruct = {0};

  /* GPIO Ports Clock Enable */
  __HAL_RCC_GPIOE_CLK_ENABLE();
  __HAL_RCC_GPIOC_CLK_ENABLE();
  __HAL_RCC_GPIOA_CLK_ENABLE();
  __HAL_RCC_GPIOB_CLK_ENABLE();
  __HAL_RCC_GPIOD_CLK_ENABLE();

  /*Configure GPIO pin Output Level */
  HAL_GPIO_WritePin(GPIOE, M24SR64_Y_RF_DISABLE_Pin|M24SR64_Y_GPO_Pin|ISM43362_RST_Pin, GPIO_PIN_RESET);

  /*Configure GPIO pin Output Level */
  HAL_GPIO_WritePin(GPIOB, ARD_D8_Pin|ISM43362_BOOT0_Pin|ISM43362_WAKEUP_Pin|LED2_Pin
                          |SPSGRF_915_SDN_Pin|ARD_D5_Pin, GPIO_PIN_RESET);

  /*Configure GPIO pin Output Level */
  HAL_GPIO_WritePin(GPIOD, USB_OTG_FS_PWR_EN_Pin|PMOD_RESET_Pin|STSAFE_A100_RESET_Pin, GPIO_PIN_RESET);

  /*Configure GPIO pin Output Level */
  HAL_GPIO_WritePin(SPBTLE_RF_SPI3_CSN_GPIO_Port, SPBTLE_RF_SPI3_CSN_Pin, GPIO_PIN_SET);

  /*Configure GPIO pin Output Level */
  HAL_GPIO_WritePin(GPIOC, VL53L0X_XSHUT_Pin|LED3_WIFI__LED4_BLE_Pin, GPIO_PIN_RESET);

  /*Configure GPIO pin Output Level */
  HAL_GPIO_WritePin(GPIOA, SPBTLE_RF_RST_Pin|ARD_D9_Pin, GPIO_PIN_RESET);

  /*Configure GPIO pin Output Level */
  HAL_GPIO_WritePin(SPSGRF_915_SPI3_CSN_GPIO_Port, SPSGRF_915_SPI3_CSN_Pin, GPIO_PIN_SET);

  /*Configure GPIO pin Output Level */
  HAL_GPIO_WritePin(ISM43362_SPI3_CSN_GPIO_Port, ISM43362_SPI3_CSN_Pin, GPIO_PIN_SET);

  /*Configure GPIO pins : M24SR64_Y_RF_DISABLE_Pin M24SR64_Y_GPO_Pin ISM43362_RST_Pin ISM43362_SPI3_CSN_Pin */
  GPIO_InitStruct.Pin = M24SR64_Y_RF_DISABLE_Pin|M24SR64_Y_GPO_Pin|ISM43362_RST_Pin|ISM43362_SPI3_CSN_Pin;
  GPIO_InitStruct.Mode = GPIO_MODE_OUTPUT_PP;
  GPIO_InitStruct.Pull = GPIO_NOPULL;
  GPIO_InitStruct.Speed = GPIO_SPEED_FREQ_LOW;
  HAL_GPIO_Init(GPIOE, &GPIO_InitStruct);

  /*Configure GPIO pins : USB_OTG_FS_OVRCR_EXTI3_Pin SPSGRF_915_GPIO3_EXTI5_Pin SPBTLE_RF_IRQ_EXTI6_Pin ISM43362_DRDY_EXTI1_Pin */
  GPIO_InitStruct.Pin = USB_OTG_FS_OVRCR_EXTI3_Pin|SPSGRF_915_GPIO3_EXTI5_Pin|SPBTLE_RF_IRQ_EXTI6_Pin|ISM43362_DRDY_EXTI1_Pin;
  GPIO_InitStruct.Mode = GPIO_MODE_IT_RISING;
  GPIO_InitStruct.Pull = GPIO_NOPULL;
  HAL_GPIO_Init(GPIOE, &GPIO_InitStruct);

  /*Configure GPIO pin : BUTTON_EXTI13_Pin */
  GPIO_InitStruct.Pin = BUTTON_EXTI13_Pin;
  GPIO_InitStruct.Mode = GPIO_MODE_IT_FALLING;
  GPIO_InitStruct.Pull = GPIO_NOPULL;
  HAL_GPIO_Init(BUTTON_EXTI13_GPIO_Port, &GPIO_InitStruct);

  /*Configure GPIO pins : ARD_A5_Pin ARD_A4_Pin ARD_A3_Pin ARD_A2_Pin
                           ARD_A1_Pin ARD_A0_Pin */
  GPIO_InitStruct.Pin = ARD_A5_Pin|ARD_A4_Pin|ARD_A3_Pin|ARD_A2_Pin
                          |ARD_A1_Pin|ARD_A0_Pin;
  GPIO_InitStruct.Mode = GPIO_MODE_ANALOG_ADC_CONTROL;
  GPIO_InitStruct.Pull = GPIO_NOPULL;
  HAL_GPIO_Init(GPIOC, &GPIO_InitStruct);

  /*Configure GPIO pin : ARD_D7_Pin */
  GPIO_InitStruct.Pin = ARD_D7_Pin;
  GPIO_InitStruct.Mode = GPIO_MODE_ANALOG_ADC_CONTROL;
  GPIO_InitStruct.Pull = GPIO_NOPULL;
  HAL_GPIO_Init(ARD_D7_GPIO_Port, &GPIO_InitStruct);

  /*Configure GPIO pins : ARD_D13_Pin ARD_D12_Pin ARD_D11_Pin */
  GPIO_InitStruct.Pin = ARD_D13_Pin|ARD_D12_Pin|ARD_D11_Pin;
  GPIO_InitStruct.Mode = GPIO_MODE_AF_PP;
  GPIO_InitStruct.Pull = GPIO_NOPULL;
  GPIO_InitStruct.Speed = GPIO_SPEED_FREQ_VERY_HIGH;
  GPIO_InitStruct.Alternate = GPIO_AF5_SPI1;
  HAL_GPIO_Init(GPIOA, &GPIO_InitStruct);

  /*Configure GPIO pin : ARD_D3_Pin */
  GPIO_InitStruct.Pin = ARD_D3_Pin;
  GPIO_InitStruct.Mode = GPIO_MODE_IT_RISING;
  GPIO_InitStruct.Pull = GPIO_NOPULL;
  HAL_GPIO_Init(ARD_D3_GPIO_Port, &GPIO_InitStruct);

  /*Configure GPIO pin : ARD_D6_Pin */
  GPIO_InitStruct.Pin = ARD_D6_Pin;
  GPIO_InitStruct.Mode = GPIO_MODE_ANALOG_ADC_CONTROL;
  GPIO_InitStruct.Pull = GPIO_NOPULL;
  HAL_GPIO_Init(ARD_D6_GPIO_Port, &GPIO_InitStruct);

  /*Configure GPIO pins : ARD_D8_Pin ISM43362_BOOT0_Pin ISM43362_WAKEUP_Pin LED2_Pin
                           SPSGRF_915_SDN_Pin ARD_D5_Pin SPSGRF_915_SPI3_CSN_Pin */
  GPIO_InitStruct.Pin = ARD_D8_Pin|ISM43362_BOOT0_Pin|ISM43362_WAKEUP_Pin|LED2_Pin
                          |SPSGRF_915_SDN_Pin|ARD_D5_Pin|SPSGRF_915_SPI3_CSN_Pin;
  GPIO_InitStruct.Mode = GPIO_MODE_OUTPUT_PP;
  GPIO_InitStruct.Pull = GPIO_NOPULL;
  GPIO_InitStruct.Speed = GPIO_SPEED_FREQ_LOW;
  HAL_GPIO_Init(GPIOB, &GPIO_InitStruct);

  /*Configure GPIO pins : LPS22HB_INT_DRDY_EXTI0_Pin LSM6DSL_INT1_EXTI11_Pin ARD_D2_Pin HTS221_DRDY_EXTI15_Pin
                           PMOD_IRQ_EXTI12_Pin */
  GPIO_InitStruct.Pin = LPS22HB_INT_DRDY_EXTI0_Pin|LSM6DSL_INT1_EXTI11_Pin|ARD_D2_Pin|HTS221_DRDY_EXTI15_Pin
                          |PMOD_IRQ_EXTI12_Pin;
  GPIO_InitStruct.Mode = GPIO_MODE_IT_RISING;
  GPIO_InitStruct.Pull = GPIO_NOPULL;
  HAL_GPIO_Init(GPIOD, &GPIO_InitStruct);

  /*Configure GPIO pins : USB_OTG_FS_PWR_EN_Pin SPBTLE_RF_SPI3_CSN_Pin PMOD_RESET_Pin STSAFE_A100_RESET_Pin */
  GPIO_InitStruct.Pin = USB_OTG_FS_PWR_EN_Pin|SPBTLE_RF_SPI3_CSN_Pin|PMOD_RESET_Pin|STSAFE_A100_RESET_Pin;
  GPIO_InitStruct.Mode = GPIO_MODE_OUTPUT_PP;
  GPIO_InitStruct.Pull = GPIO_NOPULL;
  GPIO_InitStruct.Speed = GPIO_SPEED_FREQ_LOW;
  HAL_GPIO_Init(GPIOD, &GPIO_InitStruct);

  /*Configure GPIO pins : VL53L0X_XSHUT_Pin LED3_WIFI__LED4_BLE_Pin */
  GPIO_InitStruct.Pin = VL53L0X_XSHUT_Pin|LED3_WIFI__LED4_BLE_Pin;
  GPIO_InitStruct.Mode = GPIO_MODE_OUTPUT_PP;
  GPIO_InitStruct.Pull = GPIO_NOPULL;
  GPIO_InitStruct.Speed = GPIO_SPEED_FREQ_LOW;
  HAL_GPIO_Init(GPIOC, &GPIO_InitStruct);

  /*Configure GPIO pins : VL53L0X_GPIO1_EXTI7_Pin LSM3MDL_DRDY_EXTI8_Pin */
  GPIO_InitStruct.Pin = VL53L0X_GPIO1_EXTI7_Pin|LSM3MDL_DRDY_EXTI8_Pin;
  GPIO_InitStruct.Mode = GPIO_MODE_IT_RISING;
  GPIO_InitStruct.Pull = GPIO_NOPULL;
  HAL_GPIO_Init(GPIOC, &GPIO_InitStruct);

  /*Configure GPIO pins : SPBTLE_RF_RST_Pin ARD_D9_Pin */
  GPIO_InitStruct.Pin = SPBTLE_RF_RST_Pin|ARD_D9_Pin;
  GPIO_InitStruct.Mode = GPIO_MODE_OUTPUT_PP;
  GPIO_InitStruct.Pull = GPIO_NOPULL;
  GPIO_InitStruct.Speed = GPIO_SPEED_FREQ_LOW;
  HAL_GPIO_Init(GPIOA, &GPIO_InitStruct);

  /*Configure GPIO pin : PMOD_SPI2_SCK_Pin */
  GPIO_InitStruct.Pin = PMOD_SPI2_SCK_Pin;
  GPIO_InitStruct.Mode = GPIO_MODE_AF_PP;
  GPIO_InitStruct.Pull = GPIO_NOPULL;
  GPIO_InitStruct.Speed = GPIO_SPEED_FREQ_VERY_HIGH;
  GPIO_InitStruct.Alternate = GPIO_AF5_SPI2;
  HAL_GPIO_Init(PMOD_SPI2_SCK_GPIO_Port, &GPIO_InitStruct);

  /*Configure GPIO pins : PMOD_UART2_CTS_Pin PMOD_UART2_RTS_Pin PMOD_UART2_TX_Pin PMOD_UART2_RX_Pin */
  GPIO_InitStruct.Pin = PMOD_UART2_CTS_Pin|PMOD_UART2_RTS_Pin|PMOD_UART2_TX_Pin|PMOD_UART2_RX_Pin;
  GPIO_InitStruct.Mode = GPIO_MODE_AF_PP;
  GPIO_InitStruct.Pull = GPIO_NOPULL;
  GPIO_InitStruct.Speed = GPIO_SPEED_FREQ_VERY_HIGH;
  GPIO_InitStruct.Alternate = GPIO_AF7_USART2;
  HAL_GPIO_Init(GPIOD, &GPIO_InitStruct);

  /*Configure GPIO pins : ARD_D15_Pin ARD_D14_Pin */
  GPIO_InitStruct.Pin = ARD_D15_Pin|ARD_D14_Pin;
  GPIO_InitStruct.Mode = GPIO_MODE_AF_OD;
  GPIO_InitStruct.Pull = GPIO_NOPULL;
  GPIO_InitStruct.Speed = GPIO_SPEED_FREQ_VERY_HIGH;
  GPIO_InitStruct.Alternate = GPIO_AF4_I2C1;
  HAL_GPIO_Init(GPIOB, &GPIO_InitStruct);

  /* EXTI interrupt init*/
  HAL_NVIC_SetPriority(EXTI9_5_IRQn, 5, 0);
  HAL_NVIC_EnableIRQ(EXTI9_5_IRQn);

  HAL_NVIC_SetPriority(EXTI15_10_IRQn, 5, 0);
  HAL_NVIC_EnableIRQ(EXTI15_10_IRQn);

}

/* USER CODE BEGIN 4 */
void LSM6DSL_Init(void) {
	uint8_t ctrl1_xl = 0x48; // 0100 1000 -> 104Hz, +/-4g
	    uint8_t ctrl2_g  = 0x4C; // 0100 1100 -> 104Hz, 2000 dps (lo que ya tenías)

	    // 1. Configurar Acelerómetro
	    HAL_I2C_Mem_Write(&hi2c2, 0xD4, 0x10, 1, &ctrl1_xl, 1, 100);

	    // 2. Configurar Giroscopio
	    HAL_I2C_Mem_Write(&hi2c2, 0xD4, 0x11, 1, &ctrl2_g, 1, 100);

	    printf("IMU Inicializada: Accel 4g, Gyro 2000dps\n");
}

void Calibrar_IMU(void) {
	printf("Calibrando...\n");
	uint8_t buffer[6];
    float suma_x = 0, suma_y = 0, suma_z = 0;
    int muestras = 100;

    for(int i = 0; i < muestras; i++) {
    	//Leemos directamente la HAL sin DMA ni semáforos
        if (HAL_I2C_Mem_Read(&hi2c2, 0xD4, 0x22, 1, buffer, 6, 100) == HAL_OK) {
        	// Reconstrucción manual de los datos
			int16_t gx = (int16_t)((buffer[1] << 8) | buffer[0]);
			int16_t gy = (int16_t)((buffer[3] << 8) | buffer[2]);
			int16_t gz = (int16_t)((buffer[5] << 8) | buffer[4]);

			// Sumamos aplicando el factor de escala de 2000 dps (0.070)
			suma_x += (gx * 0.070f);
			suma_y += (gy * 0.070f);
			suma_z += (gz * 0.070f);
        }
        // Usamos HAL_Delay porque el osDelay todavía no funciona (Kernel parado)
			HAL_Delay(5);
    }
    // Promediamos para obtener el Bias (el error estático)
        bias_x = suma_x / muestras;
        bias_y = suma_y / muestras;
        bias_z = suma_z / muestras;

        printf("Calibracion Exitosa!\n");
        printf("Bias -> X: %.2f | Y: %.2f | Z: %.2f\n", bias_x, bias_y, bias_z);
}

void LPS22HB_Init(void) {
    uint8_t config = 0x50; // 10 Hz, Low Pass Filter off, etc.
        // Usamos HAL directo porque el RTOS aún no maneja el bus
        HAL_I2C_Mem_Write(&hi2c2, LPS22HB_ADDR, 0x10, 1, &config, 1, 100);
}

// Esta función se encarga SOLO de hablar con el sensor
HAL_StatusTypeDef Leer_IMU_Completa_DMA(float *ax, float *ay, float *az, float *gx, float *gy, float *gz) {
	static uint8_t buffer[12]; // Ahora 12 bytes
	    HAL_StatusTypeDef status;

	    // Leemos 12 bytes desde el primer registro de datos (0x20 es común para Accel)
	    status = HAL_I2C_Mem_Read_DMA(&hi2c2, 0xD4, 0x22, 1, buffer, 12);
	    if (status != HAL_OK) return status;

	    if (osSemaphoreAcquire(i2c_dma_semHandle, 10) != osOK) return HAL_TIMEOUT;

	    // --- PROCESAMIENTO Giroscopio (buffer [0] a [5]) ---
	    int16_t raw_gx = (int16_t)((buffer[1] << 8) | buffer[0]);
		int16_t raw_gy = (int16_t)((buffer[3] << 8) | buffer[2]);
		int16_t raw_gz = (int16_t)((buffer[5] << 8) | buffer[4]);

		*gx = (raw_gx * 0.070f) - bias_x;
		*gy = (raw_gy * 0.070f) - bias_y;
		*gz = (raw_gz * 0.070f) - bias_z;

		// --- PROCESAMIENTO Acelerómetro (buffer [6] a [11]) ---

	    int16_t raw_ax = (int16_t)((buffer[7] << 8) | buffer[6]);
	    int16_t raw_ay = (int16_t)((buffer[9] << 8) | buffer[8]);
	    int16_t raw_az = (int16_t)((buffer[11] << 8) | buffer[10]);

	    // Convertimos a 'g' (Escala +-4g -> 0.122 mg/LSB)
	    *ax = (float)raw_ax * 0.000122f; // Convertido a 'g'
	    *ay = (float)raw_ay * 0.000122f;
	    *az = (float)raw_az * 0.000122f;

	    return HAL_OK;
}

HAL_StatusTypeDef Leer_Sensor_Baro(float *presion, float *altitud) {
    uint8_t raw_press[3];
    HAL_StatusTypeDef status;

    // 0x28 | 0x80 es para auto-incremento de dirección en I2C (según datasheet del LPS22HB)
    status = HAL_I2C_Mem_Read_DMA(&hi2c2, LPS22HB_ADDR, 0x28 | 0x80, 1, raw_press, 3);

    if (status != HAL_OK) return status;
    // 2. Esperamos a que el DMA termine (bloqueamos la tarea)
        // El timeout de 10ms es suficiente para una lectura I2C
        if (osSemaphoreAcquire(i2c_dma_semHandle, 10) != osOK) {
            return HAL_TIMEOUT;
        }

	// Unión de los 3 bytes (24 bits)
	uint32_t press_int = (uint32_t)raw_press[2] << 16 | (uint32_t)raw_press[1] << 8 | (uint32_t)raw_press[0];

	// Conversión a hPa
	*presion = (float)press_int / 4096.0f;

	// Cálculo de altitud relativa a P_referencia (que debe ser global)
	*altitud = 44330.0f * (1.0f - powf(*presion / P_referencia, 0.1902949f));

    return status;
}

void HAL_I2C_MemRxCpltCallback(I2C_HandleTypeDef *hi2c) {
    if (hi2c->Instance == I2C2) {
        // Liberamos el semáforo para despertar a la tarea que está esperando
        osSemaphoreRelease(i2c_dma_semHandle);
    }
}

float PID_Compute(PID_Controller *pid, float setpoint, float medido, float dt) {
	// 1. Cálculo del error
	    float error = setpoint - medido;

	    // 2. Término Proporcional (P)
	    float P = pid->Kp * error;

	    // 3. Término Integral (I) con Anti-Windup
	    // Evitamos acumular si el dt es basura o cero
	    if (dt > 0.0f) {
	        pid->integral += error * dt;
	    }

	    // Anti-windup: Limitamos la memoria de la integral
	    if (pid->integral > 100.0f) pid->integral = 100.0f;
	    else if (pid->integral < -100.0f) pid->integral = -100.0f;

	    float I = pid->Ki * pid->integral; // <--- AQUÍ ESTÁ LA "I" QUE FALTABA

	    // 4. Término Derivativo (D)
	    float D = 0.0f;
	    if (dt > 0.0f) {
	        D = pid->Kd * (error - pid->error_previo) / dt;
	    }

	    // 5. Guardar error para la próxima iteración
	    pid->error_previo = error;

	    // 6. Salida total y Saturación
	    float salida = P + I + D;

	    // Si no definiste limite_salida, le ponemos uno por defecto (ej. 500)
	    float limite = (pid->limite_salida <= 0.0f) ? 500.0f : pid->limite_salida;

	    if (salida > limite) salida = limite;
	    else if (salida < -limite) salida = -limite;

	    return salida;
}
/* USER CODE END 4 */

void StartBaroTask(void *argument)
{
  /* USER CODE BEGIN 5 */

	float p_actual, a_actual;

	    for(;;) {
	        // --- LÓGICA DEL BOTÓN (Calibración de referencia) ---
	        if (HAL_GPIO_ReadPin(GPIOC, GPIO_PIN_13) == GPIO_PIN_RESET) {
	            P_referencia = p_actual; // P_referencia debe estar declarada como global
	            osDelay(300); // Debounce simple
	        }

	        // --- LECTURA PROTEGIDA ---
	        if (osMutexAcquire(I2C2_MutexHandle, osWaitForever) == osOK) {

	            if (Leer_Sensor_Baro(&p_actual, &a_actual) == HAL_OK) {
	                // ENVIAR A LA COLA
	                osMessageQueuePut(AltitudQueueHandle, &a_actual, 0, 0);
	            }

	            osMutexRelease(I2C2_MutexHandle);
	        }
	        osDelay(100);
	    }

  /* USER CODE END 5 */
}

void StartIMU_Task(void *argument)
{
  /* USER CODE BEGIN StartIMU_Task */

	// 1. Inicializamos los PID con los nombres de tu estructura
	  static PID_Controller pidPitch = {1.2f, 0.01f, 0.5f, 0, 0, 500.0f};
	  static PID_Controller pidRoll  = {1.2f, 0.01f, 0.5f, 0, 0, 500.0f};
	  static PID_Controller pidYaw   = {0.8f, 0.01f, 0.0f, 0, 0, 500.0f};

	  float dt = 0.01f; // 10ms

	  /* Infinite loop */
	  for(;;)
	  {
	    // 2. Leer Sensor (Pasamos las direcciones de las globales con &)
	    if (osMutexAcquire(I2C2_MutexHandle, 10) == osOK) {
	      Leer_IMU_Completa_DMA(&ax, &ay, &az, &gx, &gy, &gz);
	      osMutexRelease(I2C2_MutexHandle);
	    }

	    // 3. MATEMÁTICA: Ángulos del acelerómetro
	    // Necesitás <math.h> (ya viene con atan2f y sqrtf)
	    float acc_p = atan2f(ay, az) * 57.2958f;
	    float acc_r = atan2f(-ax, sqrtf(ay * ay + az * az)) * 57.2958f;

	    // 4. FILTRO COMPLEMENTARIO (Fusión)
	    pitch = 0.98f * (pitch + gy * dt) + 0.02f * (acc_p);
	    roll  = 0.98f * (roll + gx * dt) + 0.02f * (acc_r);

	    // 5. CARGAR DATOS PARA ENVIAR (Usamos tu estructura IMU_Data_t)
	    datos_nuevos.pitch = pitch;
	    datos_nuevos.roll  = roll;

	    // Calculamos los PID y guardamos en la estructura
	    datos_nuevos.outP = PID_Compute(&pidPitch, 0.0f, pitch, dt);
	    datos_nuevos.outR = PID_Compute(&pidRoll,  0.0f, roll,  dt);
	    datos_nuevos.outY = PID_Compute(&pidYaw,   0.0f, gz,    dt); // Yaw usa gz directamente

	    // 6. ENVIAR A LA COLA
	    osMessageQueuePut(IMU_QueueHandle, &datos_nuevos, 0, 0);

	    HAL_GPIO_TogglePin(GPIOB, LED2_Pin); // Usá el nombre del LED de tu .ioc
	    osDelay(10);
	  }

  /* USER CODE END StartIMU_Task */
}

void StartTelemetry_Task(void *argument)
{
  /* USER CODE BEGIN StartTelemetry_Task */

	IMU_Data_t imu_data_local;
	  float alt_local = 0;
	  uint16_t count = 0;

	  for(;;)
	  {
	    // Leemos sin bloquear (0 timeout)
	    osMessageQueueGet(IMU_QueueHandle, &imu_data_local, NULL, 0);
	    osMessageQueueGet(AltitudQueueHandle, &alt_local, NULL, 0);

	    if (++count >= 20) {
	      printf("\r[ANG] P:%6.1f R:%6.1f | [PID] P:%7.1f R:%7.1f Y:%7.1f | [ALT] %6.2f",
	             imu_data_local.pitch, imu_data_local.roll,
	             imu_data_local.outP, imu_data_local.outR, imu_data_local.outY,
	             alt_local);
	      fflush(stdout);
	      count = 0;
	    }
	    osDelay(10);
	  }

  /* USER CODE END StartTelemetry_Task */
}

void HAL_TIM_PeriodElapsedCallback(TIM_HandleTypeDef *htim)
{
  if (htim->Instance == TIM6) {
    HAL_IncTick();
  }
}

void Error_Handler(void)
{
  __disable_irq();
  while (1)
  {
  }
}
